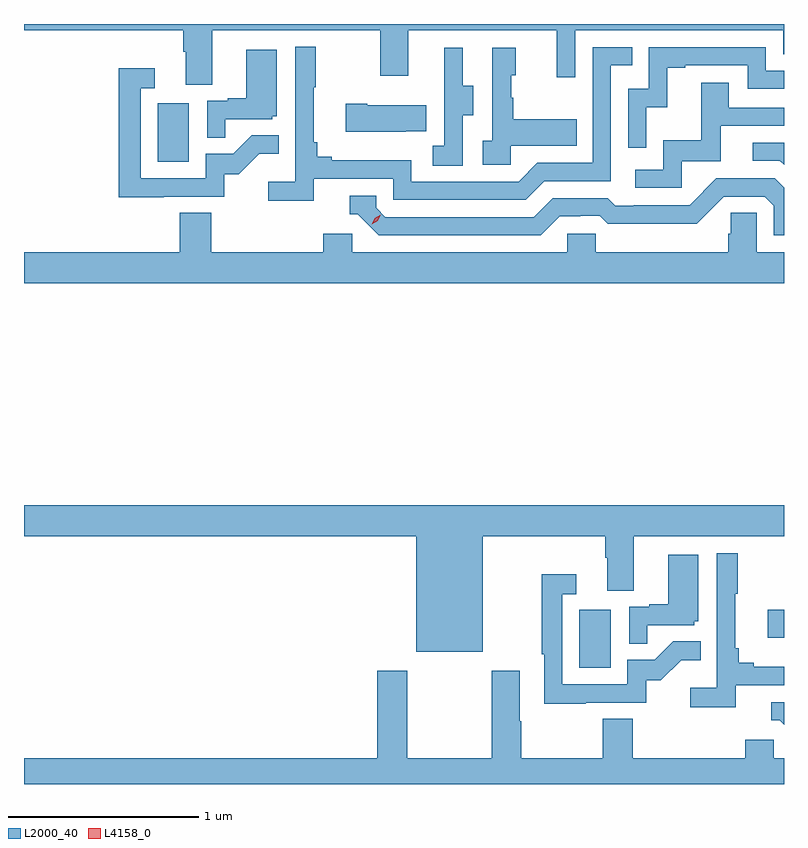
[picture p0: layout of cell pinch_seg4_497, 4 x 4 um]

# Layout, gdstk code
import gdstk
lib = gdstk.Library(unit=1e-6, precision=1e-09)
def R(c, l, rs):  # rectangles x0, y0, x1, y1
    for r in rs: c.add(gdstk.rectangle(r[:2], r[2:], *l))
def P(c, l, *ps):  # polygons
    for p in ps: c.add(gdstk.Polygon(p, *l))
L2000_40 = (2000, 40)
L4158_0 = (4158, 0)

pinch_seg4_497 = lib.new_cell('pinch_seg4_497')
R(pinch_seg4_497, L2000_40, [(966.518,760.164,966.682,760.471), (967.509,760.322,967.595,760.47), (964.298,762.828,964.462,763.135)])
P(pinch_seg4_497, L2000_40, [(964.585,763.52),(965.47,763.52),(965.47,763.281),(965.617,763.281),(965.617,763.52),(966.398,763.52),(966.398,763.272),(966.495,763.272),(966.495,763.52),(967.59,763.52),(967.59,763.393),(967.595,763.393),(967.595,763.553),(963.595,763.553),(963.595,763.52),(964.433,763.52),(964.433,763.408),(964.445,763.408),(964.445,763.234),(964.585,763.234)],
  [(965.12,762.738),(965.538,762.738),(965.538,762.627),(966.235,762.627),(966.334,762.726),(966.684,762.726),(966.684,763.335),(966.797,763.335),(966.797,763.431),(966.588,763.431),(966.588,762.822),(966.297,762.822),(966.198,762.723),(965.634,762.723),(965.634,762.835),(965.215,762.835),(965.215,762.854),(965.138,762.854),(965.138,762.931),(965.119,762.931),(965.119,763.219),(965.131,763.219),(965.131,763.432),(965.022,763.432),(965.022,762.724),(964.881,762.724),(964.881,762.622),(965.12,762.622)],
  [(966.87,763.115),(966.98,763.115),(966.98,763.323),(967.075,763.323),(967.075,763.335),(967.404,763.335),(967.404,763.212),(967.595,763.212),(967.595,763.308),(967.5,763.308),(967.5,763.431),(966.882,763.431),(966.882,763.212),(966.774,763.212),(966.774,762.903),(966.87,762.903)],
  [(965.904,763.072),(965.959,763.072),(965.959,763.227),(965.905,763.227),(965.905,763.429),(965.807,763.429),(965.807,763.215),(965.808,763.215),(965.808,762.911),(965.745,762.911),(965.745,762.808),(965.904,762.808)],
  [(966.156,762.911),(966.503,762.911),(966.503,763.051),(966.169,763.051),(966.169,763.166),(966.159,763.166),(966.159,763.284),(966.184,763.284),(966.184,763.429),(966.06,763.429),(966.06,762.938),(966.009,762.938),(966.009,762.813),(966.156,762.813)],
  [(964.655,763.053),(964.902,763.053),(964.902,763.068),(964.924,763.068),(964.924,763.417),(964.766,763.417),(964.766,763.162),(964.667,763.162),(964.667,763.149),(964.56,763.149),(964.56,762.955),(964.655,762.955)],
  [(964.331,762.645),(964.65,762.645),(964.65,762.762),(964.726,762.762),(964.833,762.869),(964.937,762.869),(964.937,762.968),(964.793,762.968),(964.695,762.87),(964.551,762.87),(964.551,762.741),(964.209,762.741),(964.209,763.215),(964.282,763.215),(964.282,763.321),(964.093,763.321),(964.093,762.64),(964.331,762.64)],
  [(967.056,762.831),(967.261,762.831),(967.261,763.017),(967.595,763.017),(967.595,763.113),(967.303,763.113),(967.303,763.243),(967.159,763.243),(967.159,762.94),(966.96,762.94),(966.96,762.786),(966.813,762.786),(966.813,762.69),(967.056,762.69)],
  [(965.603,762.989),(965.711,762.989),(965.711,763.126),(965.401,763.126),(965.401,763.134),(965.289,763.134),(965.289,762.986),(965.603,762.986)],
  [(967.595,762.927),(967.431,762.927),(967.431,762.834),(967.572,762.834),(967.595,762.811)],
  [(966.415,762.54),(966.522,762.54),(966.522,762.543),(966.625,762.543),(966.667,762.501),(966.9,762.501),(966.9,762.503),(967.136,762.503),(967.278,762.645),(967.494,762.645),(967.542,762.597),(967.542,762.441),(967.595,762.441),(967.595,762.691),(967.545,762.741),(967.239,762.741),(967.098,762.6),(966.805,762.6),(966.805,762.597),(966.706,762.597),(966.667,762.636),(966.378,762.636),(966.279,762.537),(965.496,762.537),(965.448,762.585),(965.448,762.648),(965.309,762.648),(965.309,762.552),(965.352,762.552),(965.463,762.441),(966.316,762.441)],
  [(967.595,762.352),(967.452,762.352),(967.452,762.56),(967.315,762.56),(967.315,762.45),(967.301,762.45),(967.301,762.352),(966.603,762.352),(966.603,762.45),(966.453,762.45),(966.453,762.352),(965.322,762.352),(965.322,762.45),(965.171,762.45),(965.171,762.352),(964.58,762.352),(964.58,762.56),(964.415,762.56),(964.415,762.352),(963.595,762.352),(963.595,762.188),(967.595,762.188)],
  [(963.595,760.856),(965.66,760.856),(965.66,760.25),(966.01,760.25),(966.01,760.856),(966.653,760.856),(966.653,760.744),(966.665,760.744),(966.665,760.57),(966.805,760.57),(966.805,760.856),(967.595,760.856),(967.595,761.02),(963.595,761.02)],
  [(967.34,760.074),(967.595,760.074),(967.595,760.171),(967.435,760.171),(967.435,760.19),(967.358,760.19),(967.358,760.267),(967.339,760.267),(967.339,760.555),(967.351,760.555),(967.351,760.768),(967.242,760.768),(967.242,760.06),(967.101,760.06),(967.101,759.958),(967.34,759.958)],
  [(966.875,760.389),(967.122,760.389),(967.122,760.41),(967.144,760.41),(967.144,760.759),(966.986,760.759),(966.986,760.498),(966.887,760.498),(966.887,760.485),(966.78,760.485),(966.78,760.291),(966.875,760.291)],
  [(966.551,759.981),(966.87,759.981),(966.87,760.098),(966.946,760.098),(967.053,760.205),(967.157,760.205),(967.157,760.304),(967.013,760.304),(966.915,760.206),(966.771,760.206),(966.771,760.077),(966.429,760.077),(966.429,760.551),(966.502,760.551),(966.502,760.657),(966.321,760.657),(966.321,760.237),(966.333,760.237),(966.333,759.976),(966.551,759.976)],
  [(967.595,759.688),(967.542,759.688),(967.542,759.786),(967.391,759.786),(967.391,759.688),(966.8,759.688),(966.8,759.896),(966.64,759.896),(966.64,759.688),(966.213,759.688),(966.213,759.884),(966.205,759.884),(966.205,760.15),(966.058,760.15),(966.058,759.688),(965.613,759.688),(965.613,760.15),(965.453,760.15),(965.453,759.688),(963.595,759.688),(963.595,759.553),(967.595,759.553)],
  [(967.595,759.984),(967.529,759.984),(967.529,759.888),(967.572,759.888),(967.595,759.865)])
P(pinch_seg4_497, L4158_0, [(965.426,762.498),(965.426,762.499),(965.442,762.531),(965.473,762.55),(965.473,762.55),(965.473,762.55),(965.457,762.517),(965.426,762.498)])

lib.write_gds('pinch_seg4_497.gds')
